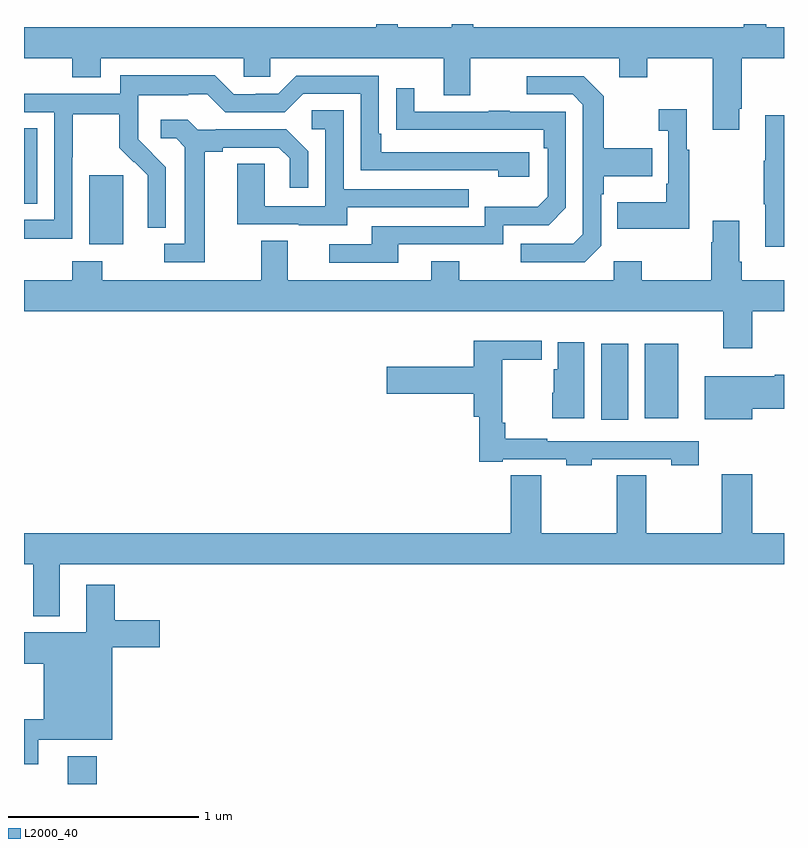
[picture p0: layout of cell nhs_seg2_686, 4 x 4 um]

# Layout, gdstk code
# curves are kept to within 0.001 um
import gdstk
lib = gdstk.Library(unit=1e-6, precision=1e-09)
def R(c, l, rs):  # rectangles x0, y0, x1, y1
    for r in rs: c.add(gdstk.rectangle(r[:2], r[2:], *l))
def P(c, l, *ps):  # polygons
    for p in ps: c.add(gdstk.Polygon(p, *l))
L2000_40 = (2000, 40)

nhs_seg2_686 = lib.new_cell('nhs_seg2_686')
R(nhs_seg2_686, L2000_40, [(145.229,659.8,145.382,659.947), (148.037,661.716,148.18,662.116), (148.268,661.724,148.444,662.116), (145.343,662.642,145.522,663.003), (145,662.854,145.069,663.251)])
P(nhs_seg2_686, L2000_40, [(148.765,663.355),(148.778,663.355),(148.778,663.62),(149,663.62),(149,663.784),(148.906,663.784),(148.906,663.8),(148.789,663.8),(148.789,663.784),(147.364,663.784),(147.364,663.8),(147.25,663.8),(147.25,663.784),(146.966,663.784),(146.966,663.8),(146.853,663.8),(146.853,663.784),(145,663.784),(145,663.62),(145.253,663.62),(145.253,663.521),(145.405,663.521),(145.405,663.62),(146.157,663.62),(146.157,663.522),(146.295,663.522),(146.295,663.62),(147.209,663.62),(147.209,663.426),(147.349,663.426),(147.349,663.62),(148.133,663.62),(148.133,663.521),(148.281,663.521),(148.281,663.62),(148.625,663.62),(148.625,663.243),(148.765,663.243)],
  [(145.254,663.1),(145.257,663.1),(145.257,663.324),(145.501,663.324),(145.501,663.149),(145.578,663.072),(145.581,663.075),(145.652,663.005),(145.652,662.882),(145.65,662.882),(145.65,662.728),(145.746,662.728),(145.746,663.046),(145.6,663.194),(145.6,663.291),(145.602,663.291),(145.602,663.425),(145.865,663.425),(145.865,663.429),(145.965,663.429),(146.058,663.336),(146.373,663.336),(146.469,663.432),(146.772,663.432),(146.772,663.03),(147.497,663.03),(147.497,662.996),(147.658,662.996),(147.658,663.126),(146.881,663.126),(146.881,663.223),(146.868,663.223),(146.868,663.528),(146.433,663.528),(146.337,663.432),(146.219,663.432),(146.219,663.429),(146.103,663.429),(146.003,663.529),(145.506,663.529),(145.506,663.432),(145,663.432),(145,663.336),(145.158,663.336),(145.158,662.769),(145,662.769),(145,662.671),(145.254,662.671)],
  [(148.038,662.634),(148.038,662.903),(148.051,662.903),(148.051,662.999),(148.307,662.999),(148.307,663.147),(148.051,663.147),(148.051,663.419),(147.945,663.525),(147.645,663.525),(147.645,663.429),(147.888,663.429),(147.942,663.375),(147.942,662.694),(147.891,662.643),(147.615,662.643),(147.615,662.547),(147.951,662.547)],
  [(146.971,662.64),(147.522,662.64),(147.522,662.742),(147.762,662.742),(147.852,662.832),(147.852,663.339),(147.557,663.339),(147.557,663.344),(147.445,663.344),(147.445,663.339),(147.055,663.339),(147.055,663.463),(146.959,663.463),(146.959,663.244),(147.736,663.243),(147.736,663.146),(147.756,663.146),(147.756,662.892),(147.703,662.839),(147.426,662.839),(147.426,662.736),(146.831,662.736),(146.831,662.64),(146.607,662.64),(146.607,662.544),(146.971,662.544)],
  [(148.501,663.139),(148.489,663.139),(148.489,663.352),(148.341,663.352),(148.341,663.239),(148.392,663.239),(148.392,662.959),(148.38,662.959),(148.38,662.863),(148.123,662.863),(148.123,662.723),(148.501,662.723)],
  [(146.701,662.835),(147.341,662.835),(147.341,662.931),(146.682,662.931),(146.682,663.347),(146.514,663.347),(146.514,663.246),(146.586,663.246),(146.586,662.841),(146.268,662.841),(146.268,663.065),(146.123,663.065),(146.123,662.745),(146.447,662.745),(146.447,662.741),(146.701,662.741)],
  [(149,663.319),(148.901,663.319),(148.901,663.079),(148.894,663.079),(148.894,662.851),(148.901,662.851),(148.901,662.628),(149,662.628)],
  [(145.951,663.128),(146.047,663.128),(146.047,663.15),(146.342,663.15),(146.399,663.093),(146.399,662.937),(146.496,662.937),(146.496,663.13),(146.38,663.246),(146.008,663.246),(146.008,663.243),(145.914,663.243),(145.862,663.295),(145.719,663.295),(145.719,663.198),(145.8,663.198),(145.847,663.151),(145.847,662.643),(145.737,662.643),(145.737,662.547),(145.951,662.547)],
  [(148.832,662.288),(149,662.288),(149,662.452),(148.778,662.452),(148.778,662.548),(148.765,662.548),(148.765,662.764),(148.625,662.764),(148.625,662.651),(148.618,662.651),(148.618,662.452),(148.251,662.452),(148.251,662.551),(148.104,662.551),(148.104,662.452),(147.291,662.452),(147.291,662.551),(147.143,662.551),(147.143,662.452),(146.389,662.452),(146.389,662.66),(146.249,662.66),(146.249,662.452),(145.413,662.452),(145.413,662.551),(145.253,662.551),(145.253,662.452),(145,662.452),(145,662.288),(148.679,662.288),(148.679,662.094),(148.832,662.094)],
  [(147.987,661.509),(148.407,661.509),(148.407,661.477),(148.552,661.477),(148.552,661.605),(147.755,661.605),(147.755,661.618),(147.533,661.618),(147.533,661.702),(147.518,661.702),(147.518,662.032),(147.724,662.032),(147.724,662.134),(147.368,662.134),(147.368,661.995),(146.91,661.995),(146.91,661.853),(147.368,661.853),(147.368,661.733),(147.397,661.733),(147.397,661.497),(147.52,661.497),(147.52,661.509),(147.855,661.509),(147.855,661.477),(147.987,661.477)],
  [(147.949,662.125),(147.809,662.125),(147.809,661.983),(147.788,661.983),(147.788,661.86),(147.779,661.86),(147.779,661.724),(147.949,661.724)],
  [(148.834,661.775),(149,661.775),(149,661.953),(148.952,661.953),(148.952,661.945),(148.583,661.945),(148.583,661.721),(148.834,661.721)],
  [(145.189,660.956),(149,660.956),(149,661.12),(148.832,661.12),(148.832,661.429),(148.672,661.429),(148.672,661.12),(148.274,661.12),(148.274,661.424),(148.12,661.424),(148.12,661.12),(147.722,661.12),(147.722,661.424),(147.563,661.424),(147.563,661.12),(145,661.12),(145,660.956),(145.049,660.956),(145.049,660.683),(145.189,660.683)],
  [(145.075,660.032),(145.465,660.032),(145.465,660.521),(145.714,660.521),(145.714,660.663),(145.478,660.663),(145.478,660.85),(145.328,660.85),(145.328,660.598),(145,660.598),(145,660.434),(145.103,660.434),(145.103,660.142),(145,660.142),(145,659.904),(145.075,659.904)])

lib.write_gds('nhs_seg2_686.gds')
